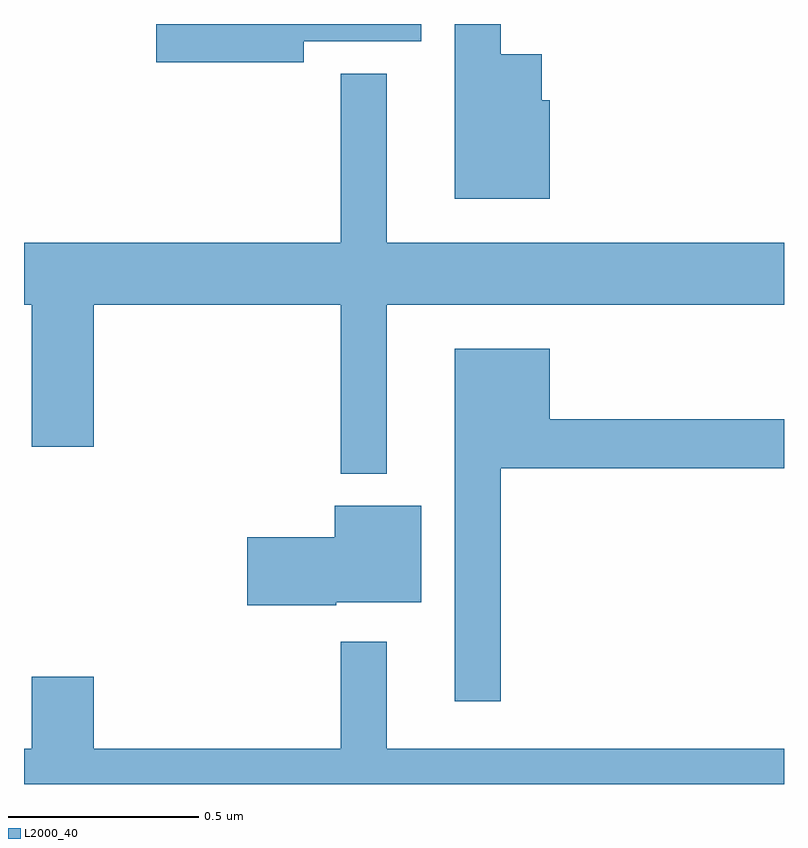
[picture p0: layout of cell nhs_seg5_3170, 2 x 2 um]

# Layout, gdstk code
import gdstk
lib = gdstk.Library(unit=1e-6, precision=1e-09)
def P(c, l, *ps):  # polygons
    for p in ps: c.add(gdstk.Polygon(p, *l))
L2000_40 = (2000, 40)

nhs_seg5_3170 = lib.new_cell('nhs_seg5_3170')
P(nhs_seg5_3170, L2000_40, [(154.384,890.598),(154.363,890.598),(154.363,890.719),(154.255,890.719),(154.255,890.799),(154.133,890.799),(154.133,890.339),(154.384,890.339)],
  [(153.736,890.753),(154.045,890.753),(154.045,890.799),(153.348,890.799),(153.348,890.698),(153.736,890.698)],
  [(153.955,890.06),(155,890.06),(155,890.224),(153.955,890.224),(153.955,890.668),(153.834,890.668),(153.834,890.224),(153,890.224),(153,890.06),(153.02,890.06),(153.02,889.686),(153.184,889.686),(153.184,890.06),(153.834,890.06),(153.834,889.616),(153.955,889.616)],
  [(154.255,889.63),(155,889.63),(155,889.759),(154.384,889.759),(154.384,889.945),(154.133,889.945),(154.133,889.017),(154.255,889.017)],
  [(153.822,889.277),(154.045,889.277),(154.045,889.531),(153.818,889.531),(153.818,889.448),(153.588,889.448),(153.588,889.27),(153.822,889.27)],
  [(155,888.892),(153.955,888.892),(153.955,889.174),(153.834,889.174),(153.834,888.892),(153.184,888.892),(153.184,889.081),(153.02,889.081),(153.02,888.892),(153,888.892),(153,888.799),(155,888.799)])

lib.write_gds('nhs_seg5_3170.gds')
